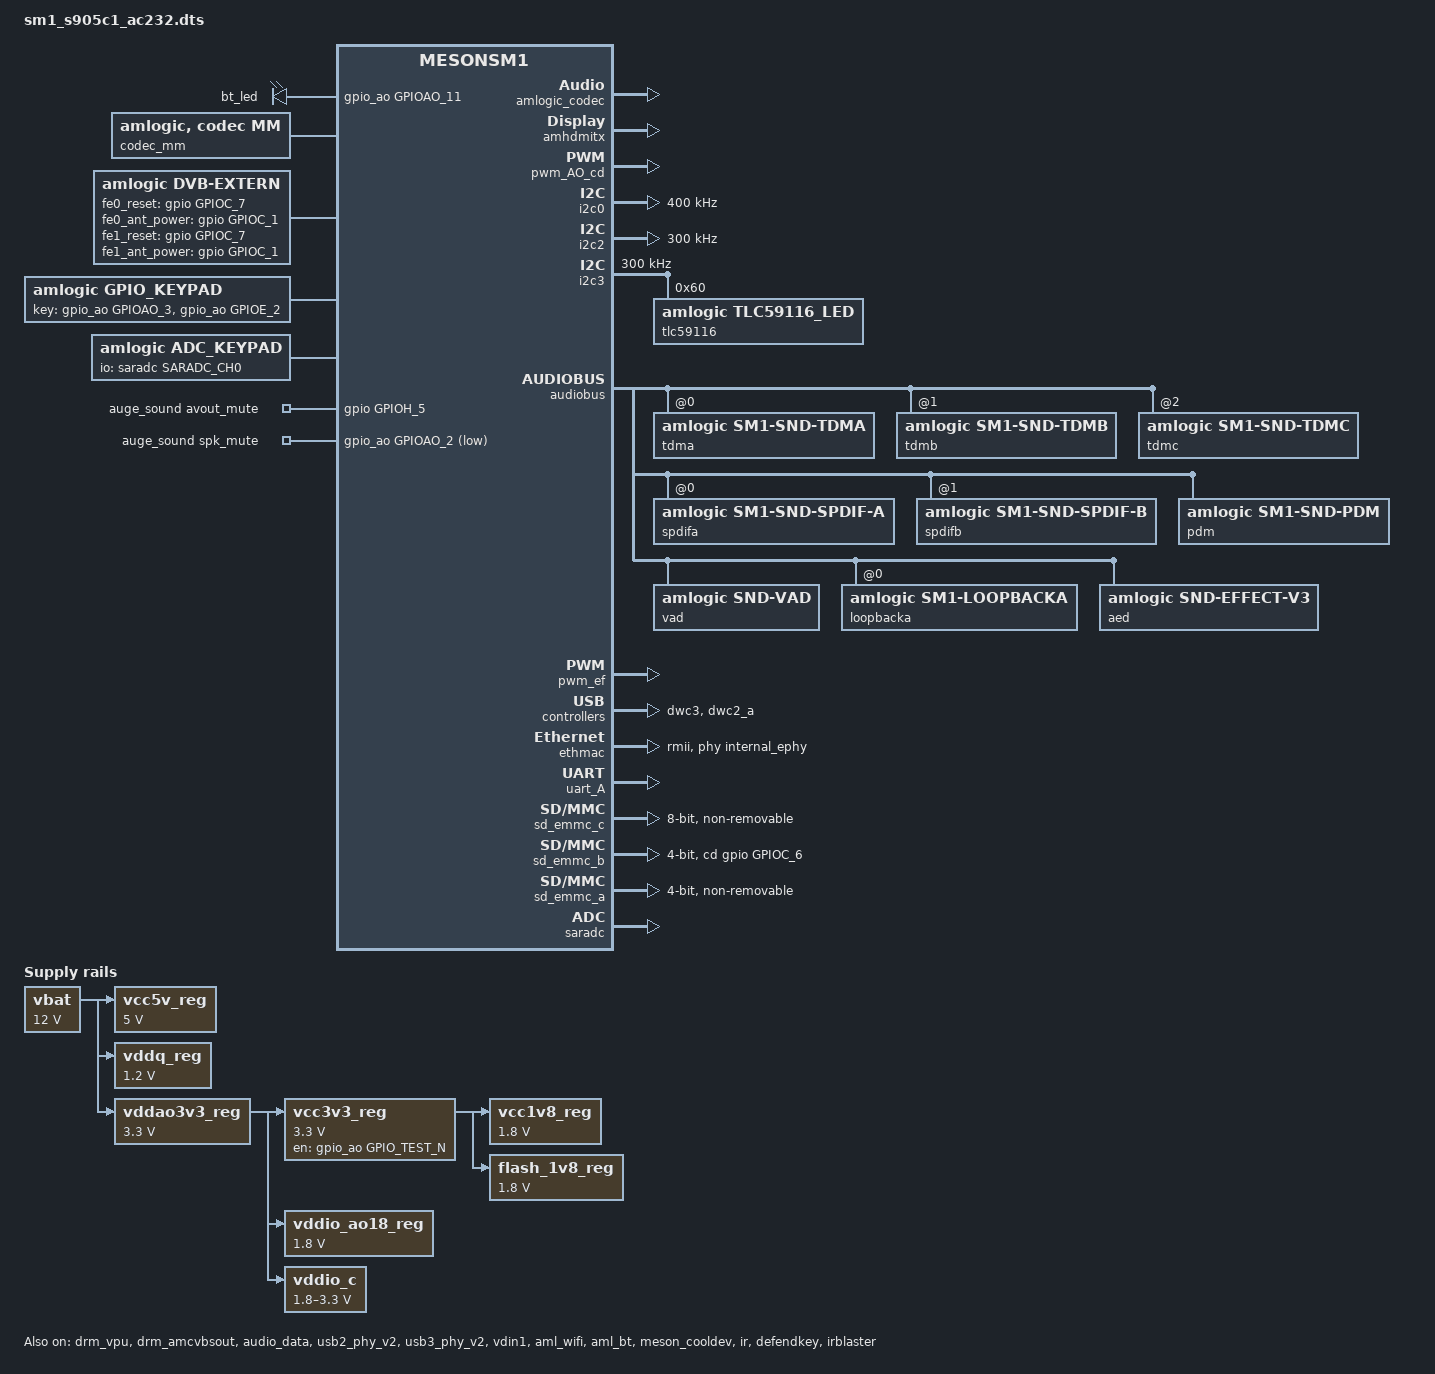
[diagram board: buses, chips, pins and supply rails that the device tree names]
// SPDX-License-Identifier: (GPL-2.0+ OR MIT)
/*
 * Copyright (c) 2019 Amlogic, Inc. All rights reserved.
 */

/dts-v1/;

#include "mesonsm1.dtsi"
#include "mesonsm1_drm.dtsi"
#include "mesonsm1_ac200-panel.dtsi"
#include "partition_mbox_normal_dynamic.dtsi"

/ {
	amlogic-dt-id = "sm1_ac232_2g";
	compatible = "sm1_ac232_2g";
	interrupt-parent = <&gic>;
	#address-cells = <2>;
	#size-cells = <2>;

	aliases {
		serial0 = &uart_AO;
		serial1 = &uart_A;
		serial2 = &uart_B;
		serial3 = &uart_C;
		serial4 = &uart_AO_B;
		tsensor0 = &p_tsensor;
		tsensor1 = &d_tsensor;
		i2c0 = &i2c0;
		i2c1 = &i2c1;
		i2c2 = &i2c2;
		i2c3 = &i2c3;
		i2c4 = &i2c_AO;
	};

	memory@00000000 {
		device_type = "memory";
		linux,usable-memory = <0x0 0x000000 0x0 0x80000000>;
	};

	reserved-memory {
		#address-cells = <2>;
		#size-cells = <2>;
		ranges;
		/* global autoconfigured region for contiguous allocations */
		ramoops@0x07400000 {
			compatible = "ramoops";
			reg = <0x0 0x07400000 0x0 0x00100000>;
			record-size = <0x20000>;
			console-size = <0x40000>;
			ftrace-size = <0x80000>;
			pmsg-size = <0x20000>;
		};

		dmc_reserved:linux,dmc_monitor {
			compatible = "amlogic,dmc_monitor-reserved";
			reg = <0x0 0x0 0x0 0x80000>;
		};

		debug_reserved:linux,iotrace {
			compatible = "amlogic, iotrace";
			reg = <0x0 0x04f00000 0x0 0x00100000>;
			io-size = <0x1b000>;
			sched-size = <0x2000>;
			irq-size = <0x1000>;
			smc-size = <0x1000>;
			misc-size = <0x1000>;
		};

		defendkey_reserved:linux,defendkey {
			compatible = "amlogic, defendkey";
			reg = <0x0 0x04e00000 0x0 0x100000>;
		};
		secmon_reserved:linux,secmon {
			compatible = "shared-dma-pool";
			no-map;
			size = <0x0 0x400000>;
			alignment = <0x0 0x400000>;
			alloc-ranges = <0x0 0x05000000 0x0 0x400000>;
		};
		logo_reserved:linux,meson-fb {
			compatible = "amlogic, meson-fb";
			alignment = <0x0 0x400000>;
			reg = <0x0 0x7f800000 0x0 0x800000>;
		};
		ion_cma_reserved:linux,ion-dev {
			compatible = "shared-dma-pool";
			reusable;
			size = <0x0 0x0>;
			alignment = <0x0 0x400000>;
		};
		ion_fb_reserved:linux,ion-fb {
			compatible = "shared-dma-pool";
			reusable;
			size = <0x0 0x0>;
			alignment = <0x0 0x400000>;
		};
		dmaheap_fb_reserved:heap-fb {
			compatible = "shared-dma-pool";
			reusable;
			size = <0x0 0x3800000>;
			alignment = <0x0 0x400000>;
		};
		dmaheap_cma_reserved:heap-gfx {
			compatible = "shared-dma-pool";
			reusable;
			size = <0x0 0x5800000>;
			alignment = <0x0 0x400000>;
		};
		dmaheap_secure_reserved:heap-secure {
			compatible = "amlogic, heap-secure-mem";
			no-map;
			size = <0x0 0x0>;
			alignment = <0x0 0x400000>;
		};
		//di_reserved:linux,di {
			//compatible = "amlogic, di-mem";
			/* buffer_size = 3621952(yuv422 8bit) */
			/* 4179008(yuv422 10bit full pack mode) */
			/** 10x3621952=34.6M(0x23) support 8bit **/
			/** 10x4736064=45.2M(0x2e) support 12bit **/
			/** 10x4179008=40M(0x28) support 10bit **/
			//size = <0x0 0x2800000>;
			//no-map;
		//};
		/*di CMA pool */
		di_cma_reserved:linux,di_cma {
			compatible = "shared-dma-pool";
			status = "disabled";
			reusable;
			/* buffer_size = 3621952(yuv422 8bit)
			 *  | 4736064(yuv422 10bit)
			 *  | 4074560(yuv422 10bit full pack mode)
			 * 10x3621952=34.6M(0x23) support 8bit
			 * 10x4736064=45.2M(0x2e) support 12bit
			 * 10x4074560=40M(0x28) support 10bit
			 */
			//size = <0x0 0x0B000000>;
			size = <0x0 0x0>;
			alignment = <0x0 0x400000>;
		};
		/*  POST PROCESS MANAGER */
		ppmgr_reserved:linux,ppmgr {
			compatible = "shared-dma-pool";
			size = <0x0 0x0>;
		};

		codec_mm_cma:linux,codec_mm_cma {
			compatible = "shared-dma-pool";
			reusable;
			/* ion_codec_mm max can alloc size 80M*/
			//size = <0x0 0x16400000>;
			size = <0x0 0x1b000000>;/*ary*/
			alignment = <0x0 0x400000>;
			linux,contiguous-region;
		};
		/* codec shared reserved */
		codec_mm_reserved:linux,codec_mm_reserved {
			compatible = "amlogic, codec-mm-reserved";
			size = <0x0 0x0>;
			alignment = <0x0 0x100000>;
			//no-map;
		};

		/*  vdin1 CMA pool */
		vdin1_cma_reserved:linux,vdin1_cma {
			compatible = "shared-dma-pool";
			reusable;
			/* 1920x1080x2x4  =16 M */
			size = <0x0 0x01000000>;
			alignment = <0x0 0x400000>;
		};
		vm0_cma_reserved:linux,vm0_cma {
			compatible = "shared-dma-pool";
			status = "okay";
			reusable;
			size = <0x0 0x2000000>;
			alignment = <0x0 0x400000>;
		};
	};

	amlogic_battery:dummy-battery {
		compatible = "amlogic, dummy-battery";
		status = "disabled";
	};

	amlogic_charger:dummy-charger {
		compatible = "amlogic, dummy-charger";
		status = "disabled";
	};

	gpioleds {
		compatible = "gpio-leds";
		status = "okay";

		bt_led {
			label="bt_led";
			gpios=<&gpio_ao GPIOAO_11 GPIO_ACTIVE_HIGH>;
			default-state ="on";
		};
	};

	cvbsout {
		compatible = "amlogic, cvbsout-sm1";
		dev_name = "cvbsout";
		status = "okay";
		clocks = <&clkc CLKID_VCLK2_ENCI
			&clkc CLKID_VCLK2_VENCI0
			&clkc CLKID_VCLK2_VENCI1
			&clkc CLKID_DAC_CLK>;
		clock-names = "venci_top_gate",
			"venci_0_gate",
			"venci_1_gate",
			"vdac_clk_gate";
		/* clk path */
		/* 0:vid_pll vid2_clk */
		/* 1:gp0_pll vid2_clk */
		/* 2:vid_pll vid1_clk */
		/* 3:gp0_pll vid1_clk */
		clk_path = <0>;

		/* performance: reg_address, reg_value */
		/* sm1 */
		performance = <0x1bf0  0x9
			0x1b56  0x333
			0x1b12  0x8080
			0x1b05  0xfd
			0x1c59  0xf850
			0xffff  0x0>; /* ending flag */
		performance_sarft = <0x1bf0  0x9
			0x1b56  0x333
			0x1b12  0x0
			0x1b05  0x9
			0x1c59  0xfc48
			0xffff  0x0>; /* ending flag */
		performance_revB_telecom = <0x1bf0  0x9
			0x1b56  0x546
			0x1b12  0x8080
			0x1b05  0x9
			0x1c59  0xf850
			0xffff  0x0>; /* ending flag */
	};

	codec_mm {
		compatible = "amlogic, codec, mm";
		memory-region = <&codec_mm_cma &codec_mm_reserved>;
		dev_name = "codec_mm";
		status = "okay";
	};

	picdec_cma_reserved:linux,picdec {
		compatible = "shared-dma-pool";
		reusable;
		size = <0x0>;
		alignment = <0x0>;
		linux,contiguous-region;
	};

	picdec {
		compatible = "amlogic, picdec";
		memory-region = <&picdec_cma_reserved>;
		dev_name = "picdec";
		status = "okay";
	};

	ppmgr {
		compatible = "amlogic, ppmgr";
		memory-region = <&ppmgr_reserved>;
		dev_name = "ppmgr";
		status = "okay";
	};

	multi-di {
		compatible = "amlogic, dim-sm1";
		status = "okay";
		/* 0:use reserved; 1:use cma; 2:use cma as reserved */
		flag_cma = <4>;	//<1>;
		//memory-region = <&di_reserved>;
		memory-region = <&di_cma_reserved>;
		interrupts = <0 46 1
				0 40 1>;
		interrupt-names = "pre_irq", "post_irq";
		//clocks = <&clkc CLKID_VPU_CLKB_TMP_COMP>,
		//	<&clkc CLKID_VPU_CLKB_COMP>;
		//clock-names = "vpu_clkb_tmp_composite",
		//	"vpu_clkb_composite";
		clock-range = <334 667>;
		/* buffer-size = <3621952>;(yuv422 8bit) */
		buffer-size = <4074560>;/*yuv422 fullpack*/
		/* reserve-iomap = "true"; */
		/* if enable nr10bit, set nr10bit-support to 1 */
		post-wr-support = <1>;
		nr10bit-support = <1>;
		nrds-enable = <1>;
		pps-enable = <1>;
	};

	deinterlace {
		compatible = "amlogic, deinterlace";
		status = "disabled";
		/* 0:use reserved; 1:use cma; 2:use cma as reserved */
		flag_cma = <1>;
		//memory-region = <&di_reserved>;
		//memory-region = <&di_cma_reserved>;
		interrupts = <0 46 1
				0 40 1>;
		interrupt-names = "pre_irq", "post_irq";
		//clocks = <&clkc CLKID_VPU_CLKB_TMP_COMP>,
		//	<&clkc CLKID_VPU_CLKB_COMP>;
		clock-names = "vpu_clkb_tmp_composite",
			"vpu_clkb_composite";
		clock-range = <334 667>;
		/* buffer-size = <3621952>;(yuv422 8bit) */
		buffer-size = <4074560>;/*yuv422 fullpack*/
		/* reserve-iomap = "true"; */
		/* if enable nr10bit, set nr10bit-support to 1 */
		post-wr-support = <1>;
		nr10bit-support = <1>;
		nrds-enable = <1>;
		pps-enable = <1>;
	};

	dvb-extern {
		compatible = "amlogic, dvb-extern";
		dev_name = "dvb-extern";
		status = "okay";

		fe_num = <2>;
		fe0_demod = "cxd2856";
		fe0_i2c_adap_id = <&i2c2>;
		fe0_demod_i2c_addr = <0xD8>;
		fe0_reset_value = <0>;
		fe0_reset_gpio = <&gpio GPIOC_7 GPIO_ACTIVE_HIGH>;
		fe0_reset_dir = <1>; /* 0: out, 1: in. */
		fe0_ant_poweron_value = <0>;
		fe0_ant_power_gpio = <&gpio GPIOC_1 GPIO_ACTIVE_HIGH>;
		fe0_ts  = <0>;
		fe0_tuner0 = <0>; /* T/C */
		fe0_tuner1 = <1>; /* S */

		fe1_demod = "cxd2856";
		fe1_i2c_adap_id = <&i2c2>;
		fe1_demod_i2c_addr = <0xCA>;
		fe1_reset_value = <0>;
		fe1_reset_gpio = <&gpio GPIOC_7 GPIO_ACTIVE_HIGH>;
		fe1_reset_dir = <1>; /* 0: out, 1: in. */
		fe1_ant_poweron_value = <0>;
		fe1_ant_power_gpio = <&gpio GPIOC_1 GPIO_ACTIVE_HIGH>;
		fe1_ts  = <1>;
		fe1_tuner0 = <0>; /* T/C */
		fe1_tuner1 = <1>; /* S */

		tuner_num = <2>; /* for extern demod use tuner */
		tuner0_name = "r836_tuner";
		tuner1_name = "av2018_tuner";
	};

	demux {
		compatible = "amlogic, dvb-demux";
		dev_name = "dvb-demux";
		status = "okay";

		ts0 = "serial";
		ts0_control = <0x800>;
		ts0_invert = <0>;

		ts1 = "serial";
		ts1_control = <0x800>;
		ts1_invert = <0>;

		interrupts = <0 23 1
		0 5 1
		0 53 1
		0 19 1
		0 25 1
		0 18 1
		0 24 1>;
		interrupt-names = "demux0_irq",
		"demux1_irq",
		"demux2_irq",
		"dvr0_irq",
		"dvr1_irq",
		"dvrfill0_fill",
		"dvrfill1_flush";
		pinctrl-names = "s_ts0", "s_ts1";
		pinctrl-0 = <&dvb_s_ts0_pins>;
		pinctrl-1 = <&dvb_s_ts1_pins>;
		clocks = <&clkc CLKID_DEMUX
		&clkc CLKID_AHB_ARB0
		&clkc CLKID_PARSER>;
		clock-names = "demux", "ahbarb0", "parser_top";
	};

	ionvideo {
		compatible = "amlogic, ionvideo";
		dev_name = "ionvideo";
		status = "okay";
	};

	amlvideo2_0 {
		compatible = "amlogic, amlvideo2";
		dev_name = "amlvideo2";
		status = "okay";
		amlvideo2_id = <0>;
		cma_mode = <1>;
	};

	amlvideo2_1 {
		compatible = "amlogic, amlvideo2";
		dev_name = "amlvideo2";
		status = "okay";
		amlvideo2_id = <1>;
		cma_mode = <1>;
	};

	vm0 {
		compatible = "amlogic, vm";
		memory-region = <&vm0_cma_reserved>;
		dev_name = "vm0";
		status = "disabled";
		vm_id = <0>;
	};

	amvdec_656in {
		/*bt656 gpio conflict with i2c0*/
		compatible = "amlogic, amvdec_656in";
		dev_name = "amvdec_656in";
		status = "disabled";
		reg = <0x0 0xffe02000 0x0 0x7c>;
		//clocks = <&clkc CLKID_BT656_COMP>,
		//      <&clkc CLKID_BT656>;
		//clock-names = "cts_bt656_clk1",
		//      "clk_gate_bt656";
		/* bt656in1, bt656in2 */
		bt656in1 {
		bt656_id = <1>;
		status = "disabled";
		};
	};

	aml_cams {
		compatible = "amlogic, cams_prober";
		status = "disabled";
		pinctrl-names="default";
		pinctrl-0=<&cam_dvp_pins &gen_clk_ee_z>;
//		clocks = <&clkc CLKID_GEN_CLK>;
		clock-names = "g12a_24m";
		cam_0{
			cam_name = "gc2145";
			front_back = <0>;
			/*u200 i2c2 gpio conflict with ethmac*/
			camera-i2c-bus = <&i2c2>;
			gpio_pwdn-gpios = <&gpio GPIOZ_2 GPIO_ACTIVE_HIGH>;
			gpio_rst-gpios = <&gpio GPIOZ_12 GPIO_ACTIVE_HIGH>;
			mirror_flip = <1>;
			vertical_flip = <1>;
			spread_spectrum = <0>;
			bt_path = "gpio";
			bt_path_count = <1>;
			vdin_path = <0>;
			status = "okay";
		};
	};

	gpio_keypad{
		compatible = "amlogic, gpio_keypad";
		status = "okay";
		scan_period = <20>;
		key_num = <2>;
		key_name = "bluetooth", "mic";
		key_code = <600 248>;
		key-gpios = <&gpio_ao  GPIOAO_3  GPIO_ACTIVE_HIGH
			     &gpio_ao  GPIOE_2  GPIO_ACTIVE_HIGH>;
		detect_mode = <0>;/*0:polling mode, 1:irq mode*/
	};

	adc_keypad {
		compatible = "amlogic, adc_keypad";
		status = "okay";
		key_name = "vol-", "vol+", "power";
		key_num = <3>;
		io-channels = <&saradc SARADC_CH0>;
		io-channel-names = "key-chan-0";
		key_chan = <SARADC_CH0 SARADC_CH0 SARADC_CH0>;
		key_code = <114 115 116>;
		key_val = <630 910 20>; //val=voltage/1800mV*1023
		key_tolerance = <40 40 40>;
	};

	unifykey{
		compatible = "amlogic,unifykey";
		status = "ok";
		unifykey-num = <19>;
		unifykey-index-0 = <&keysn_0>;
		unifykey-index-1 = <&keysn_1>;
		unifykey-index-2 = <&keysn_2>;
		unifykey-index-3 = <&keysn_3>;
		unifykey-index-4 = <&keysn_4>;
		unifykey-index-5 = <&keysn_5>;
		unifykey-index-6 = <&keysn_6>;
		unifykey-index-7 = <&keysn_7>;
		unifykey-index-8 = <&keysn_8>;
		unifykey-index-9 = <&keysn_9>;
		unifykey-index-10= <&keysn_10>;
		unifykey-index-11= <&keysn_11>;
		unifykey-index-12= <&keysn_12>;
		unifykey-index-13= <&keysn_13>;
		unifykey-index-14= <&keysn_14>;
		unifykey-index-15= <&keysn_15>;
		unifykey-index-16= <&keysn_16>;
		unifykey-index-17= <&keysn_17>;
		unifykey-index-18= <&keysn_18>;

		keysn_0: key_0{
			key-name = "usid";
			key-device = "normal";
			key-permit = "read","write","del";
		};
		keysn_1:key_1{
			key-name = "mac";
			key-device = "normal";
			key-permit = "read","write","del";
		};
		keysn_2:key_2{
			key-name = "hdcp";
			key-device = "secure";
			key-type = "sha1";
			key-permit = "read","write","del";
		};
		keysn_3:key_3{
			key-name = "secure_boot_set";
			key-device = "efuse";
			key-permit = "write";
		};
		keysn_4:key_4{
			key-name = "mac_bt";
			key-device = "normal";
			key-permit = "read","write","del";
			key-type  = "mac";
		};
		keysn_5:key_5{
			key-name = "mac_wifi";
			key-device = "normal";
			key-permit = "read","write","del";
			key-type = "mac";
		};
		keysn_6:key_6{
			key-name = "hdcp2_tx";
			key-device = "normal";
			key-permit = "read","write","del";
		};
		keysn_7:key_7{
			key-name = "hdcp2_rx";
			key-device = "normal";
			key-permit = "read","write","del";
		};
		keysn_8:key_8{
			key-name = "widevinekeybox";
			key-device = "secure";
			key-permit = "read","write","del";
		};
		keysn_9:key_9{
			key-name = "deviceid";
			key-device = "normal";
			key-permit = "read","write","del";
		};
		keysn_10:key_10{
			key-name = "hdcp22_fw_private";
			key-device = "secure";
			key-permit = "read","write","del";
		};
		keysn_11:key_11{
			key-name = "PlayReadykeybox25";
			key-device = "secure";
			key-permit = "read","write","del";
		};
		keysn_12:key_12{
			key-name = "prpubkeybox";// PlayReady
			key-device = "secure";
			key-permit = "read","write","del";
		};
		keysn_13:key_13{
			key-name = "prprivkeybox";// PlayReady
			key-device = "secure";
			key-permit = "read","write","del";
		};
		keysn_14:key_14{
			key-name = "attestationkeybox";// attestation key
			key-device = "secure";
			key-permit = "read","write","del";
		};
		keysn_15:key_15{
			key-name = "region_code";
			key-device = "normal";
			key-permit = "read","write","del";
		};
		keysn_16:key_16{
			key-name = "netflix_mgkid";
			key-device = "secure";
			key-permit = "read","write","del";
		};
		keysn_17:key_17{
			key-name = "attestationdevidbox";// attest dev id box
			key-device = "secure";
			key-permit = "read","write","del";
		};
		keysn_18:key_18{
			key-name = "oemkey";
			key-device = "normal";
			key-permit = "read","write","del";
		};
	};//End unifykey

	efusekey:efusekey{
		keynum = <4>;
		key0 = <&key_0>;
		key1 = <&key_1>;
		key2 = <&key_2>;
		key3 = <&key_3>;
		key_0:key_0{
			keyname = "mac";
			offset = <0>;
			size = <6>;
		};
		key_1:key_1{
			keyname = "mac_bt";
			offset = <6>;
			size = <6>;
		};
		key_2:key_2{
			keyname = "mac_wifi";
			offset = <12>;
			size = <6>;
		};
		key_3:key_3{
			keyname = "usid";
			offset = <18>;
			size = <16>;
		};
	};//End efusekey

	amlvecm {
		compatible = "amlogic, vecm-sm1";
		dev_name = "aml_vecm";
		status = "okay";
		gamma_en = <0>;/*1:enable ;0:disable*/
		wb_en = <0>;/*1:enable ;0:disable*/
		cm_en = <0>;/*1:enable ;0:disable*/
		/*0: 709/601  1: bt2020*/
		tx_op_color_primary = <0>;
	};

	amdolby_vision {
		compatible = "amlogic, dolby_vision_sm1";
		dev_name = "aml_amdolby_vision_driver";
		status = "okay";
		tv_mode = <0>;/*1:enable ;0:disable*/
	};

	/* Audio Related start */
	pdm_codec:dummy{
		#sound-dai-cells = <0>;
		compatible = "amlogic, pdm_dummy_codec";
		status = "okay";
	};
	dummy_codec:dummy{
		#sound-dai-cells = <0>;
		compatible = "amlogic, aml_dummy_codec";
		status = "okay";
	};
	amlogic_codec:t9015{
		#sound-dai-cells = <0>;
		compatible = "amlogic, aml_codec_T9015";
		reg = <0x0 0xFF632000 0x0 0x2000>;
		is_auge_used = <1>; /* meson or auge chipset used */
		tocodec_inout = <1>;
		tdmout_index = <1>;
		ch0_sel = <0>;
		ch1_sel = <1>;

		status = "okay";
	};
	audio_effect:eqdrc{
		/*eq_enable = <1>;*/
		/*drc_enable = <1>;*/
		/*
		 * 0:tdmout_a
		 * 1:tdmout_b
		 * 2:tdmout_c
		 * 3:spdifout
		 * 4:spdifout_b
		 */
		eqdrc_module = <1>;
		/* max 0xf, each bit for one lane, usually one lane */
		lane_mask = <0x1>;
		/* max 0xff, each bit for one channel */
		channel_mask = <0x3>;
	};
	auge_sound {
		compatible = "amlogic, auge-sound-card";
		aml-audio-card,name = "AML-AUGESOUND";

		/*avout mute gpio*/
		avout_mute-gpios = <&gpio GPIOH_5 GPIO_ACTIVE_HIGH>;

		spk_mute-gpios = <&gpio_ao GPIOAO_2 GPIO_ACTIVE_LOW>;

		aml-audio-card,dai-link@0 {
			format = "dsp_a";
			mclk-fs = <512>;
			//continuous-clock;
			//bitclock-inversion;
			//frame-inversion;
			/* master mode */
			bitclock-master = <&tdma>;
			frame-master = <&tdma>;
			/* slave mode */
			/*
			 * bitclock-master = <&tdmacodec>;
			 * frame-master = <&tdmacodec>;
			 */
			suffix-name = "alsaPORT-pcm";
			tdmacpu: cpu {
				sound-dai = <&tdma>;
				dai-tdm-slot-tx-mask =
							<1 1 1 1 1 1 1 1>;
				dai-tdm-slot-rx-mask =
							<1 1 1 1 1 1 1 1>;
				dai-tdm-slot-num = <8>;
				dai-tdm-slot-width = <32>;
				system-clock-frequency = <24576000>;
			};
			tdmacodec: codec {
				sound-dai = <&dummy_codec>;
			};
		};

		aml-audio-card,dai-link@1 {
			format = "i2s";// "dsp_a";
			mclk-fs = <256>;
			//continuous-clock;
			//bitclock-inversion;
			//frame-inversion;
			/* master mode */
			bitclock-master = <&tdmb>;
			frame-master = <&tdmb>;
			/* slave mode */
			//bitclock-master = <&tdmbcodec>;
			//frame-master = <&tdmbcodec>;
			/* suffix-name, sync with android audio hal
			 * what's the dai link used for
			 */
			suffix-name = "alsaPORT-i2s";
			cpu {
				sound-dai = <&tdmb>;
				dai-tdm-slot-tx-mask = <1 1>;
				dai-tdm-slot-rx-mask = <1 1>;
				dai-tdm-slot-num = <2>;
				/*
				 * dai-tdm-slot-tx-mask =
				 *	<1 1 1 1 1 1 1 1>;
				 * dai-tdm-slot-rx-mask =
				 *	<1 1 1 1 1 1 1 1>;
				 * dai-tdm-slot-num = <8>;
				 */
				dai-tdm-slot-width = <32>;
				system-clock-frequency = <12288000>;
			};
			tdmbcodec: codec {
				sound-dai = <&amlogic_codec>;
			};
		};

		aml-audio-card,dai-link@2 {
			format = "i2s";
			mclk-fs = <256>;
			//continuous-clock;
			//bitclock-inversion;
			//frame-inversion;
			/* master mode */
			bitclock-master = <&tdmc>;
			frame-master = <&tdmc>;
			/* slave mode */
			//bitclock-master = <&tdmccodec>;
			//frame-master = <&tdmccodec>;
			/* suffix-name, sync with android audio hal used for */
			suffix-name = "alsaPORT-i2s2hdmi";
			cpu {
				sound-dai = <&tdmc>;
				dai-tdm-slot-tx-mask = <1 1>;
				dai-tdm-slot-rx-mask = <1 1>;
				dai-tdm-slot-num = <2>;
				dai-tdm-slot-width = <32>;
				system-clock-frequency = <12288000>;
			};
			tdmccodec: codec {
				sound-dai = <&dummy_codec>;
			};
		};

		aml-audio-card,dai-link@3 {
			mclk-fs = <64>;
			/* suffix-name, sync with android audio hal
			 * what's the dai link used for
			 */
			suffix-name = "alsaPORT-pdm-builtinmic";
			cpu {
				sound-dai = <&pdm>;
			};
			codec {
				sound-dai = <&pdm_codec>;
			};
		};

		aml-audio-card,dai-link@4 {
			mclk-fs = <128>;
			/* suffix-name, sync with android audio hal used for */
			suffix-name = "alsaPORT-spdif";
			cpu {
				sound-dai = <&spdifa>;
				system-clock-frequency = <6144000>;
			};
			codec {
				sound-dai = <&dummy_codec>;
			};
		};
		/* spdif_b to hdmi, only playback */
		aml-audio-card,dai-link@5 {
			mclk-fs = <128>;
			continuous-clock;
			/* suffix-name, sync with android audio hal
			 * what's the dai link used for
			 */
			suffix-name = "alsaPORT-spdifb";
			cpu {
				sound-dai = <&spdifb>;
				system-clock-frequency = <6144000>;
			};
			codec {
				sound-dai = <&dummy_codec>;
			};
		};
#if 0
		aml-audio-card,dai-link@6 {
			mclk-fs = <256>;
			suffix-name = "alsaPORT-earc";
			cpu {
				sound-dai = <&earc>;
				system-clock-frequency = <12288000>;
			};
			codec {
				sound-dai = <&dummy_codec>;
			};
		};
#endif
		aml-audio-card,dai-link@7 {
			mclk-fs = <256>;
			continuous-clock;
			suffix-name = "alsaPORT-loopback";
			cpu {
				sound-dai = <&loopbacka>;
				system-clock-frequency = <12288000>;
			};
			codec {
				sound-dai = <&dummy_codec>;
			};
		};
	};
	audiolocker: locker {
		compatible = "amlogic, audiolocker";
		clocks = <&clkaudio CLKID_AUDIO_LOCKER_OUT
				&clkaudio CLKID_AUDIO_LOCKER_IN
				&clkaudio CLKID_AUDIO_MCLK_D
				&clkaudio CLKID_AUDIO_MCLK_E
				&clkc CLKID_MPLL1
				&clkc CLKID_MPLL2>;
		clock-names = "lock_out", "lock_in", "out_src",
					"in_src", "out_calc", "in_ref";
		interrupts = <GIC_SPI 1 IRQ_TYPE_EDGE_RISING>;
		interrupt-names = "irq";
		frequency = <49000000>; /* pll */
		dividor = <49>; /* locker's parent */
		status = "disabled";
	};
	/* Audio Related end */
	vbat: fixedregulator@vbat {
		compatible = "regulator-fixed";
		regulator-name = "12V";
		regulator-min-microvolt = <12000000>;
		regulator-max-microvolt = <12000000>;
		regulator-boot-on;
		regulator-always-on;
	};

	vcc5v_reg: fixedregulator@vcc5v {
		vin-supply = <&vbat>;
		compatible = "regulator-fixed";
		regulator-name = "VCC_5V";
		regulator-min-microvolt = <5000000>;
		regulator-max-microvolt = <5000000>;
		pinctrl-names = "default";
		//GPIOH_8(OD) Set:
		// Output disable= Enable VCC5V
		//gpio = <&gpio GPIOH_8 GPIO_ACTIVE_HIGH>;
		startup-delay-us = <70000>;
		enable-active-high;
		regulator-boot-on;
		regulator-always-on;
	};

	vddq_reg: fixedregulator@vddq {
		compatible = "regulator-fixed";
		vin-supply = <&vbat>;
		regulator-name = "VDDQ";
		regulator-min-microvolt = <1200000>;
		regulator-max-microvolt = <1200000>;
		regulator-boot-on;
		regulator-always-on;
	};

	vddao3v3_reg: fixedregulator@vddao3v3 {
		vin-supply = <&vbat>;
		compatible = "regulator-fixed";
		regulator-name = "VDDAO_3.3V";
		regulator-min-microvolt = <3300000>;
		regulator-max-microvolt = <3300000>;
		regulator-boot-on;
		regulator-always-on;
	};

	vcc3v3_reg: fixedregulator@vcc3v3 {
		compatible = "regulator-fixed";
		vin-supply = <&vddao3v3_reg>;
		regulator-name = "VCC3.3V";
		regulator-min-microvolt = <3300000>;
		regulator-max-microvolt = <3300000>;
		pinctrl-names = "default";
		//TEST_N(High) Set:
		//Output L= Disable VCC3.3V
		//Output H= Enable VCC3.3V
		gpio = <&gpio_ao GPIO_TEST_N GPIO_ACTIVE_HIGH>;
		startup-delay-us = <70000>;
		enable-active-high;
		regulator-boot-on;
		regulator-always-on;
	};

	vcc1v8_reg: fixedregulator@vcc1v8 {
		vin-supply = <&vcc3v3_reg>;
		compatible = "regulator-fixed";
		regulator-name = "VCC1.8V";
		regulator-min-microvolt = <1800000>;
		regulator-max-microvolt = <1800000>;
		regulator-boot-on;
		regulator-always-on;
	};

	flash_1v8_reg: fixedregulator@flash_1v8 {
		vin-supply = <&vcc3v3_reg>;
		compatible = "regulator-fixed";
		regulator-name = "FLASH_1.8V";
		regulator-min-microvolt = <1800000>;
		regulator-max-microvolt = <1800000>;
		regulator-boot-on;
		regulator-always-on;
	};

	vddio_ao18_reg: fixedregulator@vddio_ao18 {
		vin-supply = <&vddao3v3_reg>;
		compatible = "regulator-fixed";
		regulator-name = "VDDIO_AO18";
		regulator-min-microvolt = <1800000>;
		regulator-max-microvolt = <1800000>;
		regulator-boot-on;
		regulator-always-on;
	};

	vddio_c: sdcard-1v8_3v3 {
		compatible = "regulator-gpio";
		regulator-name = "VDDIO_C";
		vin-supply = <&vddao3v3_reg>;
		regulator-min-microvolt = <1800000>;
		regulator-max-microvolt = <3300000>;
		// L/HiZ: 3.3V, H: 1.8V
		gpio = <&gpio_ao GPIOAO_2 GPIO_ACTIVE_HIGH>;
		gpios-states = <0>;
		regulator-boot-on;
		//regulator-always-on;

		/* Based on P200 schematics, signal CARD_1.8V/3.3V_CTR */
		states = <1800000 1
			  3300000 0>;
	};

	cpu_opp_table0: cpu_opp_table0 {
		compatible = "operating-points-v2";
		opp-shared;

		opp00 {
			opp-hz = /bits/ 64 <100000000>;
			opp-microvolt = <760000>;
		};
		opp01 {
			opp-hz = /bits/ 64 <250000000>;
			opp-microvolt = <760000>;
		};
		opp02 {
			opp-hz = /bits/ 64 <500000000>;
			opp-microvolt = <760000>;
		};
		opp03 {
			opp-hz = /bits/ 64 <666666666>;
			opp-microvolt = <780000>;
		};
		opp04 {
			opp-hz = /bits/ 64 <1000000000>;
			opp-microvolt = <800000>;
		};
		opp05 {
			opp-hz = /bits/ 64 <1200000000>;
			opp-microvolt = <810000>;
		};
		opp06 {
			opp-hz = /bits/ 64 <1404000000>;
			opp-microvolt = <820000>;
		};
		opp07 {
			opp-hz = /bits/ 64 <1500000000>;
			opp-microvolt = <830000>;
		};
		opp08 {
			opp-hz = /bits/ 64 <1608000000>;
			opp-microvolt = <860000>;
		};
		opp09 {
			opp-hz = /bits/ 64 <1704000000>;
			opp-microvolt = <900000>;
		};
		opp10 {
			opp-hz = /bits/ 64 <1800000000>;
			opp-microvolt = <940000>;
		};
		opp11 {
			opp-hz = /bits/ 64 <1908000000>;
			opp-microvolt = <1000000>;
		};
	};

	cpu_opp_table1: cpu_opp_table1 {
		compatible = "operating-points-v2";
		opp-shared;

		opp00 {
			opp-hz = /bits/ 64 <100000000>;
			opp-microvolt = <760000>;
		};
		opp01 {
			opp-hz = /bits/ 64 <250000000>;
			opp-microvolt = <760000>;
		};
		opp02 {
			opp-hz = /bits/ 64 <500000000>;
			opp-microvolt = <760000>;
		};
		opp03 {
			opp-hz = /bits/ 64 <666666666>;
			opp-microvolt = <780000>;
		};
		opp04 {
			opp-hz = /bits/ 64 <1000000000>;
			opp-microvolt = <800000>;
		};
		opp05 {
			opp-hz = /bits/ 64 <1200000000>;
			opp-microvolt = <810000>;
		};
		opp06 {
			opp-hz = /bits/ 64 <1404000000>;
			opp-microvolt = <820000>;
		};
		opp07 {
			opp-hz = /bits/ 64 <1500000000>;
			opp-microvolt = <830000>;
		};
		opp08 {
			opp-hz = /bits/ 64 <1608000000>;
			opp-microvolt = <860000>;
		};
		opp09 {
			opp-hz = /bits/ 64 <1704000000>;
			opp-microvolt = <900000>;
		};
		opp10 {
			opp-hz = /bits/ 64 <1800000000>;
			opp-microvolt = <940000>;
		};
		opp11 {
			opp-hz = /bits/ 64 <1908000000>;
			opp-microvolt = <970000>;
		};
	};

	cpu_opp_table2: cpu_opp_table2 {
		compatible = "operating-points-v2";
		opp-shared;

		opp00 {
			opp-hz = /bits/ 64 <100000000>;
			opp-microvolt = <760000>;
		};
		opp01 {
			opp-hz = /bits/ 64 <250000000>;
			opp-microvolt = <760000>;
		};
		opp02 {
			opp-hz = /bits/ 64 <500000000>;
			opp-microvolt = <760000>;
		};
		opp03 {
			opp-hz = /bits/ 64 <666666666>;
			opp-microvolt = <780000>;
		};
		opp04 {
			opp-hz = /bits/ 64 <1000000000>;
			opp-microvolt = <800000>;
		};
		opp05 {
			opp-hz = /bits/ 64 <1200000000>;
			opp-microvolt = <810000>;
		};
		opp06 {
			opp-hz = /bits/ 64 <1404000000>;
			opp-microvolt = <820000>;
		};
		opp07 {
			opp-hz = /bits/ 64 <1500000000>;
			opp-microvolt = <830000>;
		};
		opp08 {
			opp-hz = /bits/ 64 <1608000000>;
			opp-microvolt = <860000>;
		};
		opp09 {
			opp-hz = /bits/ 64 <1704000000>;
			opp-microvolt = <900000>;
		};
		opp10 {
			opp-hz = /bits/ 64 <1800000000>;
			opp-microvolt = <910000>;
		};
		opp11 {
			opp-hz = /bits/ 64 <1908000000>;
			opp-microvolt = <910000>;
		};
	};

	cpu_opp_table3: cpu_opp_table3 {
		compatible = "operating-points-v2";
		opp-shared;

		opp00 {
			opp-hz = /bits/ 64 <100000000>;
			opp-microvolt = <760000>;
		};
		opp01 {
			opp-hz = /bits/ 64 <250000000>;
			opp-microvolt = <760000>;
		};
		opp02 {
			opp-hz = /bits/ 64 <500000000>;
			opp-microvolt = <760000>;
		};
		opp03 {
			opp-hz = /bits/ 64 <666666666>;
			opp-microvolt = <780000>;
		};
		opp04 {
			opp-hz = /bits/ 64 <1000000000>;
			opp-microvolt = <800000>;
		};
		opp05 {
			opp-hz = /bits/ 64 <1200000000>;
			opp-microvolt = <810000>;
		};
		opp06 {
			opp-hz = /bits/ 64 <1404000000>;
			opp-microvolt = <820000>;
		};
		opp07 {
			opp-hz = /bits/ 64 <1500000000>;
			opp-microvolt = <830000>;
		};
		opp08 {
			opp-hz = /bits/ 64 <1608000000>;
			opp-microvolt = <860000>;
		};
		opp09 {
			opp-hz = /bits/ 64 <1704000000>;
			opp-microvolt = <860000>;
		};
		opp10 {
			opp-hz = /bits/ 64 <1800000000>;
			opp-microvolt = <860000>;
		};
		opp11 {
			opp-hz = /bits/ 64 <1908000000>;
			opp-microvolt = <860000>;
		};
	};

	cpufreq-meson {
		compatible = "amlogic, cpufreq-meson";
		status = "okay";
	};

}; /* end of / */

&vddcpu0 {
	status = "okay";
};

&CPU0 {
	/*set multi table cpufreq max*/
	multi_tables_available;
	operating-points-v2 = <&cpu_opp_table0>,
			<&cpu_opp_table1>,
			<&cpu_opp_table2>,
			<&cpu_opp_table3>;
};

&CPU1 {
	/*set multi table cpufreq max*/
	multi_tables_available;
	operating-points-v2 = <&cpu_opp_table0>,
			<&cpu_opp_table1>,
			<&cpu_opp_table2>,
			<&cpu_opp_table3>;
};

&CPU2 {
	/*set multi table cpufreq max*/
	multi_tables_available;
	operating-points-v2 = <&cpu_opp_table0>,
			<&cpu_opp_table1>,
			<&cpu_opp_table2>,
			<&cpu_opp_table3>;
};

&CPU3 {
	/*set multi table cpufreq max*/
	multi_tables_available;
	operating-points-v2 = <&cpu_opp_table0>,
			<&cpu_opp_table1>,
			<&cpu_opp_table2>,
			<&cpu_opp_table3>;
};

&meson_fb {
	status = "disabled";
	display_size_default = <1920 1080 1920 2160 32>;
	mem_size = <0x00800000 0x1980000 0x100000 0x100000 0x800000>;
	logo_addr = "0x7f800000";
	mem_alloc = <0>;
	pxp_mode = <0>; /** 0:normal mode 1:pxp mode */
};

&amhdmitx {
	status = "okay";
};

&drm_vpu {
	status = "okay";
	logo_addr = "0x7f800000";
};

&drm_amcvbsout {
	status = "okay";
};

&pwm_AO_cd {
		status = "okay";
};

&i2c0 {
	status = "okay";
	pinctrl-names="default";
	pinctrl-0=<&i2c0_master_pins2>;
	clock-frequency = <400000>;

	gt9xx@5d {
		compatible = "goodix,gt9xx";
		status = "disabled";
		reg = <0x5d>;
		reset-gpio = <&gpio GPIOZ_9 0x00>;
		irq-gpio = <&gpio GPIOZ_3 0x00>;
	};

	ftxx@38 {
		compatible = "focaltech,fts";
		status = "disabled";
		reg = <0x38>;
		reset-gpio = <&gpio GPIOZ_9 0x00>;
		irq-gpio = <&gpio GPIOZ_3 0x00>;
		x_max = <600>;
		y_max = <1024>;
		max-touch-number = <10>;
	};
};

&i2c2 {
	status = "okay";
	pinctrl-names="default";
	pinctrl-0=<&i2c2_master_pins2>;
	clock-frequency = <300000>;
};

&i2c3 {
	status = "okay";
	pinctrl-names="default";
	pinctrl-0=<&i2c3_master_pins2>;
	clock-frequency = <300000>; /* default 100k */

	/* for ref board */
	ad82584f_62: ad82584f_62@31 {
		compatible = "ESMT, ad82584f";
		#sound-dai-cells = <0>;
		reg = <0x31>;
		status = "disabled";
		reset_pin = <&gpio GPIOA_5 0>;
		no_mclk;
	};

	//bl_extern_i2c {
	//	compatible = "bl_extern, i2c";
	//	dev_name = "lp8556";
	//	reg = <0x2c>;
	//	status = "disabled";
	//};

	/* for led */
	tlc59116: tlc59116@60 {
		compatible = "amlogic,tlc59116_led";
		reg = <0x60>;
		status = "okay";

		led0 {
			default_colors = <0 0 0>;
			r_io_number = <0>;
			g_io_number = <10>;
			b_io_number = <5>;
		};

		led1 {
			default_colors = <0 0 0>;
			r_io_number = <1>;
			g_io_number = <11>;
			b_io_number = <6>;
		};

		led2 {
			default_colors = <0 0 0>;
			r_io_number = <2>;
			g_io_number = <12>;
			b_io_number = <7>;
		};

		led3 {
			default_colors = <0 0 0>;
			r_io_number = <3>;
			g_io_number = <13>;
			b_io_number = <8>;
		};
	};
};

&audiobus {
	tdma: tdm@0 {
		compatible = "amlogic, sm1-snd-tdma";
		#sound-dai-cells = <0>;
		dai-tdm-lane-slot-mask-in = <0 1>;
		dai-tdm-oe-lane-slot-mask-out = <1 0>;
		dai-tdm-clk-sel = <0>;
		clocks = <&clkaudio CLKID_AUDIO_MCLK_A
				&clkc CLKID_MPLL0>;
		clock-names = "mclk", "clk_srcpll";
		pinctrl-names = "tdm_pins";
		pinctrl-0 = <&tdmout_a &tdmin_a>;

		status = "okay";
	};

	tdmb: tdm@1 {
		compatible = "amlogic, sm1-snd-tdmb";
		#sound-dai-cells = <0>;
		dai-tdm-lane-slot-mask-in = <0 1 0 0>;
		dai-tdm-lane-slot-mask-out = <1 0 0 0>;
		dai-tdm-clk-sel = <1>;
		clocks = <&clkaudio CLKID_AUDIO_MCLK_B
				&clkaudio CLKID_AUDIO_MCLK_PAD0
				&clkc CLKID_MPLL1
				&clkc CLKID_MPLL0
				&clkaudio CLKID_AUDIO_SPDIFOUT_A>;
		clock-names = "mclk", "mclk_pad", "clk_srcpll",
			"samesource_srcpll", "samesource_clk";
		pinctrl-names = "tdm_pins";
		pinctrl-0 = <&tdmb_mclk &tdmout_b &tdmin_b>;

		/*
		 * 0: tdmout_a;
		 * 1: tdmout_b;
		 * 2: tdmout_c;
		 * 3: spdifout;
		 * 4: spdifout_b;
		 */
		samesource_sel = <3>;

		/*enable default mclk(12.288M), before extern codec start*/
		start_clk_enable = <1>;

		/*tdm clk tuning enable*/
		clk_tuning_enable = <1>;

		status = "okay";
	};

	tdmc: tdm@2 {
		compatible = "amlogic, sm1-snd-tdmc";
		#sound-dai-cells = <0>;
		dai-tdm-lane-slot-mask-out = <1 1 1 1>;
		dai-tdm-clk-sel = <2>;
		clocks = <&clkaudio CLKID_AUDIO_MCLK_C
				&clkc CLKID_MPLL2>;
		clock-names = "mclk", "clk_srcpll";
		i2s2hdmi = <1>;
		status = "okay";
	};

	tdmlb:tdm@3 {
		compatible = "amlogic, sm1-snd-tdmlb";
		#sound-dai-cells = <0>;

		dai-tdm-lane-lb-slot-mask-in = <1 0 0 0>;
		dai-tdm-clk-sel = <1>;

		clocks = <&clkaudio CLKID_AUDIO_MCLK_B
				&clkc CLKID_MPLL1>;
		clock-names = "mclk", "clk_srcpll";

		/*
		 * select tdmin_lb src;
		 * AXG
		 *  0: TDMOUTA
		 *  1: TDMOUTB
		 *  2: TDMOUTC
		 *  3: PAD_TDMINA
		 *  4: PAD_TDMINB
		 *  5: PAD_TDMINC
		 *
		 * G12A/G12B
		 *  0: TDMOUTA
		 *  1: TDMOUTB
		 *  2: TDMOUTC
		 *  3: PAD_TDMINA_DIN*
		 *  4: PAD_TDMINB_DIN*
		 *  5: PAD_TDMINC_DIN*
		 *  6: PAD_TDMINA_D*, oe pin
		 *  7: PAD_TDMINB_D*, oe pin
		 *
		 * TL1/SM1
		 *  0: TDMOUTA
		 *  1: TDMOUTB
		 *  2: TDMOUTC
		 *  3: PAD_TDMINA_DIN*
		 *  4: PAD_TDMINB_DIN*
		 *  5: PAD_TDMINC_DIN*
		 *  6: PAD_TDMINA_D*
		 *  7: PAD_TDMINB_D*
		 *  8: PAD_TDMINC_D*
		 *  9: HDMIRX_I2S
		 *  10: ACODEC_ADC
		 */
		lb-src-sel = <1>;

		status = "disabled";
	};

	spdifa: spdif@0 {
		compatible = "amlogic, sm1-snd-spdif-a";
		#sound-dai-cells = <0>;
		clocks = <&clkc CLKID_MPLL0
				&clkc CLKID_FCLK_DIV4
				&clkaudio CLKID_AUDIO_GATE_SPDIFIN
				&clkaudio CLKID_AUDIO_GATE_SPDIFOUT_A
				&clkaudio CLKID_AUDIO_SPDIFIN
				&clkaudio CLKID_AUDIO_SPDIFOUT_A>;
		clock-names = "sysclk", "fixed_clk", "gate_spdifin",
				"gate_spdifout", "clk_spdifin", "clk_spdifout";
		interrupts =
				<GIC_SPI 151 IRQ_TYPE_EDGE_RISING>;

		interrupt-names = "irq_spdifin";
		pinctrl-names = "spdif_pins",
				"spdif_pins_mute";
		pinctrl-0 = <&spdifout>;
		pinctrl-1 = <&spdifout_a_mute>;

		/*spdif clk tuning enable*/
		clk_tuning_enable = <1>;

		status = "okay";
	};
	spdifb: spdif@1 {
		compatible = "amlogic, sm1-snd-spdif-b";
		#sound-dai-cells = <0>;
		clocks = <&clkc CLKID_MPLL2 /*CLKID_HIFI_PLL*/
				&clkaudio CLKID_AUDIO_GATE_SPDIFOUT_B
				&clkaudio CLKID_AUDIO_SPDIFOUT_B>;
		clock-names = "sysclk",
				"gate_spdifout", "clk_spdifout";

		status = "okay";
	};
	pdm: pdm {
		compatible = "amlogic, sm1-snd-pdm";
		#sound-dai-cells = <0>;

		clocks = <&clkaudio CLKID_AUDIO_GATE_PDM
			&clkc CLKID_FCLK_DIV3
			&clkc CLKID_MPLL3
			&clkaudio CLKID_AUDIO_PDMIN0
			&clkaudio CLKID_AUDIO_PDMIN1>;
		clock-names = "gate",
			"sysclk_srcpll",
			"dclk_srcpll",
			"pdm_dclk",
			"pdm_sysclk";

		pinctrl-names = "pdm_pins";
		pinctrl-0 = <&pdmin>;

		/* mode 0~4, defalut:1 */
		filter_mode = <1>;

		status = "okay";
	};

	asrca: resample@0 {
		compatible = "amlogic, sm1-resample";
		clocks = <&clkc CLKID_MPLL3
				&clkaudio CLKID_AUDIO_MCLK_F
				&clkaudio CLKID_AUDIO_RESAMPLE_A>;
		clock-names = "resample_pll", "resample_src", "resample_clk";
		/*same with toddr_src
		 *	TDMIN_A, 0
		 *	TDMIN_B, 1
		 *	TDMIN_C, 2
		 *	SPDIFIN, 3
		 *	PDMIN,  4
		 *	NONE,
		 *	TDMIN_LB, 6
		 *	LOOPBACK, 7
		 */
		resample_module = <4>;
		status = "disabled";
	};

	vad:vad {
		compatible = "amlogic, snd-vad";
		#sound-dai-cells = <0>;

		clocks = <&clkaudio CLKID_AUDIO_GATE_TOVAD
			&clkc CLKID_FCLK_DIV5
			&clkaudio CLKID_AUDIO_VAD>;
		clock-names = "gate", "pll", "clk";

		interrupts = <GIC_SPI 155 IRQ_TYPE_EDGE_RISING
				GIC_SPI 48 IRQ_TYPE_EDGE_RISING>;
		interrupt-names = "irq_wakeup", "irq_frame_sync";

		/*
		 * Data src sel:
		 * 0: tdmin_a;
		 * 1: tdmin_b;
		 * 2: tdmin_c;
		 * 3: spdifin;
		 * 4: pdmin;
		 * 5: loopback_b;
		 * 6: tdmin_lb;
		 * 7: loopback_a;
		 */
		src = <4>;

		/*
		 * deal with hot word in user space or kernel space
		 * 0: in user space
		 * 1: in kernel space
		 */
		level = <1>;

		status = "okay";
	};

	loopbacka:loopback@0 {
		compatible = "amlogic, sm1-loopbacka";
		#sound-dai-cells = <0>;

		clocks = <&clkaudio CLKID_AUDIO_GATE_PDM
			&clkc CLKID_FCLK_DIV3
			&clkc CLKID_MPLL3
			&clkaudio CLKID_AUDIO_PDMIN0
			&clkaudio CLKID_AUDIO_PDMIN1
			&clkc CLKID_MPLL0
			&clkaudio CLKID_AUDIO_MCLK_A>;
		clock-names = "pdm_gate",
			"pdm_sysclk_srcpll",
			"pdm_dclk_srcpll",
			"pdm_dclk",
			"pdm_sysclk",
			"tdminlb_mpll",
			"tdminlb_mclk";

		/* datain src
		 * 0: tdmin_a;
		 * 1: tdmin_b;
		 * 2: tdmin_c;
		 * 3: spdifin;
		 * 4: pdmin;
		 */
		datain_src = <4>;
		datain_chnum = <2>;
		datain_chmask = <0x3>;
		/* config which data pin for loopback */
		datain-lane-mask-in = <1 0 0 0>;

		/* calc mclk for datalb */
		mclk-fs = <256>;

		/* tdmin_lb src
		 * 0: tdmoutA
		 * 1: tdmoutB
		 * 2: tdmoutC
		 * 3: PAD_TDMINA_DIN*, refer to core pinmux
		 * 4: PAD_TDMINB_DIN*, refer to core pinmux
		 * 5: PAD_TDMINC_DIN*, refer to core pinmux
		 * 6: PAD_TDMINA_D*, oe, refer to core pinmux
		 * 7: PAD_TDMINB_D*, oe, refer to core pinmux
		 */
		/* if tdmin_lb >= 3, use external loopback */
		datalb_src = <1>;
		datalb_chnum = <2>;
		datalb_chmask = <0x3>;
		/* config which data pin as loopback */
		datalb-lane-mask-in = <1 0 0 0>;

		status = "okay";
	};

	loopbackb:loopback@1 {
		compatible = "amlogic, sm1-loopbackb";
		#sound-dai-cells = <0>;

		clocks = <&clkaudio CLKID_AUDIO_GATE_PDM
			&clkc CLKID_FCLK_DIV3
			&clkc CLKID_MPLL3
			&clkaudio CLKID_AUDIO_PDMIN0
			&clkaudio CLKID_AUDIO_PDMIN1
			&clkc CLKID_MPLL0
			&clkaudio CLKID_AUDIO_MCLK_A>;
		clock-names = "pdm_gate",
			"pdm_sysclk_srcpll",
			"pdm_dclk_srcpll",
			"pdm_dclk",
			"pdm_sysclk",
			"tdminlb_mpll",
			"tdminlb_mclk";

		/* calc mclk for datain_lb */
		mclk-fs = <256>;

		/* datain src
		 * 0: tdmin_a;
		 * 1: tdmin_b;
		 * 2: tdmin_c;
		 * 3: spdifin;
		 * 4: pdmin;
		 */
		datain_src = <4>;
		datain_chnum = <4>;
		datain_chmask = <0xf>;
		/* config which data pin for loopback */
		datain-lane-mask-in = <1 0 1 0>;

		/* tdmin_lb src
		 * 0: tdmoutA
		 * 1: tdmoutB
		 * 2: tdmoutC
		 * 3: PAD_TDMINA_DIN*, refer to core pinmux
		 * 4: PAD_TDMINB_DIN*, refer to core pinmux
		 * 5: PAD_TDMINC_DIN*, refer to core pinmux
		 * 6: PAD_TDMINA_D*, oe, refer to core pinmux
		 * 7: PAD_TDMINB_D*, oe, refer to core pinmux
		 */
		/* if tdmin_lb >= 3, use external loopback */
		datalb_src = <1>;
		datalb_chnum = <2>;
		datalb_chmask = <0x3>;
		/* config which data pin as loopback */
		datalb-lane-mask-in = <1 0 0 0>;

		status = "disabled";
	};
	aed:effect {
		compatible = "amlogic, snd-effect-v3";
		#sound-dai-cells = <0>;
		clocks = <&clkaudio CLKID_AUDIO_GATE_EQDRC
			&clkc CLKID_FCLK_DIV5
			&clkaudio CLKID_AUDIO_EQDRC>;
		clock-names = "gate", "srcpll", "eqdrc";
		/*
		 * 0:tdmout_a
		 * 1:tdmout_b
		 * 2:tdmout_c
		 * 3:spdifout
		 * 4:spdifout_b
		 */
		eqdrc_module = <1>;
		/* max 0xf, each bit for one lane, usually one lane */
		lane_mask = <0x1>;
		/* max 0xff, each bit for one channel */
		channel_mask = <0x3>;
		status = "okay";
	};
}; /* end of audiobus */

&earc {
	status = "disabled";
};

&pinctrl_periphs {
	tdmout_a: tdmout_a {
		mux { /* GPIOX_11, GPIOX_10, GPIOX_9 */
			groups = "tdm_a_sclk",
				"tdm_a_fs",
				"tdm_a_dout0";
			function = "tdm_a";
		};
	};

	tdmin_a: tdmin_a {
		mux { /* GPIOX_8 */
			groups = "tdm_a_din1";
			function = "tdm_a";
		};
	};

	tdmb_mclk: tdmb_mclk {
		mux {
			groups = "mclk0_a";
			function = "mclk0";
			drive-strength = <2>;
		};
	};
	tdmout_b: tdmout_b {
		mux { /* GPIOA_1, GPIOA_2, GPIOA_3 */
			groups = "tdm_b_sclk",
				"tdm_b_fs",
				"tdm_b_dout0";
			function = "tdm_b";
			drive-strength = <2>;
		};
	};

	tdmin_b:tdmin_b {
		mux { /* GPIOA_4 */
			groups = "tdm_b_din1"
				/*,"tdmb_slv_sclk", "tdmb_slv_fs"*/;
			function = "tdm_b";
			drive-strength = <2>;
		};
	};

	tdmc_mclk: tdmc_mclk {
		mux { /* GPIOA_11 */
			groups = "mclk1_a";
			function = "mclk1";
		};
	};

	tdmout_c:tdmout_c {
		mux { /* GPIOA_12, GPIOA_13 */
			groups = "tdm_c_sclk_a",
				"tdm_c_fs_a"
				/*, "tdm_c_dout0_a"
				 *,	"tdm_c_dout2"
				 *, "tdm_c_dout3"
				 */;
			function = "tdm_c";
		};
	};

	tdmin_c:tdmin_c {
		mux { /* GPIOA_10 */
			groups = "tdm_c_din0_a";
			function = "tdm_c";
		};
	};

	spdifin: spdifin {
		mux {/* GPIOH_5 */
			groups = "spdif_in_h";
			function = "spdif_in";
		};
	};

	pdmin: pdmin {
		mux { /* GPIOC_0, GPIOC_4 */
			groups = "pdm_din0_c",
				"pdm_dclk_c";
			function = "pdm";
		};
	};

	bl_pwm_off_pins:bl_pwm_off_pin {
		mux {
			pins = "GPIOH_5";
			function = "gpio_periphs";
			output-high;
		};
	};

	clk12_24_z_pins:clk12_24_z_pins {
		mux {
			groups = "clk12_24_z";
			function = "clk12_24_ee";
			drive-strength = <3>;
		};
	};

	gen_clk_ee_z: gen_clk_ee_z {
		mux {
			groups="gen_clk_ee_z";
			function="gen_clk_ee";
			drive-strength = <3>;
		};
	};

	cam_dvp_pins:cam_dvp_pins {
		mux {
			groups = "bt656_a_vs", "bt656_a_hs", "bt656_a_clk",
				"bt656_a_din0", "bt656_a_din1", "bt656_a_din2",
				"bt656_a_din3", "bt656_a_din4", "bt656_a_din5",
				"bt656_a_din6", "bt656_a_din7";
			function = "bt656";
		};
	};

	//spdifout: spdifout {
	//	mux { /* GPIOH_4 */
	//		groups = "spdif_out_ao";
	//		function = "spdif_out_ao";
	//	};
	//};

}; /* end of pinctrl_periphs */

&pinctrl_aobus {
	spdifout: spdifout {
		mux { /* GPIOAO_10 */
			groups = "spdif_ao_out";
			function = "spdif_ao_out";
		};
	};

	spdifout_a_mute: spdifout_a_mute {
		mux { /* GPIOAO_10 */
			groups = "GPIOAO_10";
			function = "gpio_aobus";
		};
	};
};  /* end of pinctrl_aobus */

&audio_data {
	status = "okay";
};

/* Audio Related End */

&pwm_ef {
	status = "okay";
};

&dwc3 {
	status = "okay";
};

&usb2_phy_v2 {
	status = "okay";
	portnum = <2>;
};

&usb3_phy_v2 {
	status = "okay";
	portnum = <1>;
	otg = <1>;
};

&dwc2_a {
	status = "okay";
	/** 0: normal, 1: otg+dwc3 host only, 2: otg+dwc3 device only*/
	controller-type = <3>;
};

&ethmac {
	status = "okay";
	phy-handle = <&internal_ephy>;
	phy-mode = "rmii";
};

&uart_A {
	status = "okay";
};

&vdin1 {
	memory-region = <&vdin1_cma_reserved>;
	status = "okay";
	/*vdin write mem color depth support:
	 *bit0:support 8bit
	 *bit1:support 9bit
	 *bit2:support 10bit
	 *bit3:support 12bit
	 */
	tv_bit_mode = <1>;
};

&sd_emmc_c {
	status = "okay";
	pinctrl-0 = <&emmc_pins>, <&emmc_ds_pins>;
	pinctrl-1 = <&emmc_clk_gate_pins>;
	pinctrl-names = "default", "clk-gate";
	bus-width = <8>;
	cap-mmc-highspeed;
	max-frequency = <200000000>;
	non-removable;
	disable-wp;
	mmc-ddr-1_8v;
	mmc-hs200-1_8v;
	mmc-hs400-1_8v;
	//mmc-pwrseq = <&emmc_pwrseq>;
	//vmmc-supply = <&vcc_3v3>;
	//vqmmc-supply = <&vddio_boot>;
};

&sd_emmc_b {
	//vmmc-supply = <&vddao3v3_reg>;
	//vqmmc-supply = <&vddio_c>;
	status = "okay";
	pinctrl-0 = <&sdcard_pins>;
	pinctrl-1 = <&sdcard_clk_gate_pins>;
	pinctrl-2 = <&sd_1bit_pins>;
	//pinctrl-3 = <&sd_to_ao_uart_clr_pins
	//	&sdcard_pins &ao_to_sd_uart_pins>;
	//pinctrl-4 = <&sd_to_ao_uart_clr_pins
	//	&sd_1bit_pins &ao_to_sd_uart_pins>;
	//pinctrl-5 = <&sdcard_pins &ao_uart_pins>;
	//pinctrl-6 = <&sd_to_ao_uart_clr_pins
	//	&ao_to_sd_uart_pins>;
	//pinctrl-7 = <&sdcard_pins &ao_uart_pins>;
	//pinctrl-8 = <&sd_to_ao_uart_clr_pins
	//	&ao_to_sd_uart_pins>;

	pinctrl-names = "sd_default",
				"clk-gate",
				"sd_1bit_pins";
	//			"sd_clk_cmd_uart_pins",
	//			"sd_1bit_uart_pins",
	//			"sd_to_ao_uart_pins",
	//			"ao_to_sd_uart_pins",
	//			"sd_to_ao_jtag_pins",
	//			"ao_to_sd_jtag_pins";
				bus-width = <4>;
				cap-sd-highspeed;
//      sd-uhs-sdr12;
//      sd-uhs-sdr25;
//      sd-uhs-sdr50;
//      sd-uhs-sdr104;
				max-frequency = <200000000>;
				disable-wp;
				dat1-gpios = <&gpio GPIOC_1 GPIO_ACTIVE_HIGH>;
				cd-gpios = <&gpio GPIOC_6 GPIO_ACTIVE_HIGH>;
				//vmmc-supply = <&vddao_3v3>;
				//vqmmc-supply = <&emmc_1v8>;
};

&sd_emmc_a {
	 status = "okay";
	 pinctrl-0 = <&sdio_m_pins>;
	 pinctrl-1 = <&sdio_m_clk_gate_pins>;
	 pinctrl-names = "default", "clk-gate";
	 bus-width = <4>;
	 cap-sd-highspeed;
	 sd-uhs-sdr104;
	 non-removable;
	 max-frequency = <200000000>;
	 disable-wp;
	 cap-sdio-irq;
	 keep-power-in-suspend;
	//broken-cd;
};

&mtd_nand {
	status = "disabled";
	#address-cells = <1>;
	#size-cells = <0>;

	pinctrl-names = "nand_norb_mod","nand_cs_only";
	pinctrl-0 = <&all_nand_pins>;
	pinctrl-1 = <&nand_cs_pins>;
	bl_mode = <1>;
	fip_copies = <4>;
	fip_size = <0x200000>;
	ship_bad_block = <1>;
	disa_irq_flag = <1>;
	nand@bootloader {
		reg = <0>;
		#address-cells = <1>;
		#size-cells = <1>;
		nand-ecc-maximize;
		partition@0 {
			label = "bootloader";
			reg = <0x0 0x00000000>;
		};
	};

	nand@normal {
		reg = <0>;
		#address-cells = <1>;
		#size-cells = <1>;
		nand-ecc-maximize;

		partition@0 {
			label = "tpl";
			reg = <0x0 0x00000000>;
		};
		partition@1 {
			label = "logo";
			reg = <0x0 0x00200000>;
		};
		partition@2 {
			label = "recovery";
			reg = <0x0 0x1000000>;
		};
		partition@3 {
			label = "boot";
			reg = <0x0 0x0F00000>;
		};
		partition@4 {
			label = "system";
			reg = <0x0 0x11800000>;
		};
		partition@5 {
			label = "data";
			reg = <0x0 0xffffffff>;
			size=<0x0 0x0>;
		};
	};
};

&aml_wifi{
	status = "okay";
	interrupt-gpios = <&gpio  GPIOX_7  GPIO_ACTIVE_HIGH>;
	power_on-gpios = <&gpio   GPIOX_6  GPIO_ACTIVE_HIGH>;
};

&aml_bt {
	status = "okay";
	reset-gpios = <&gpio    GPIOX_17 GPIO_ACTIVE_HIGH>;
	hostwake-gpios = <&gpio GPIOX_19 GPIO_ACTIVE_HIGH>;
};

&pcie_A {
	reset-gpio = <&gpio GPIOX_7 GPIO_ACTIVE_HIGH>;
	status = "disable";
};

&meson_cooldev {
	status = "okay";
};

&saradc {
	status = "okay";
};

&ir {
	status = "okay";
	pinctrl-0 = <&remote_pins>;
	pinctrl-names = "default";
};

&defendkey {
	status = "okay";
};

&lcd {
	status = "disabled";
};

&pinctrl_audio {
	tdm_b_clk_pins: tdm_b_clk_pins {
		mux {
			groups = "tdm_sclk1", "tdm_lrclk1";
			function = "tdm_clk_outb";
		};
	};
};

&pinctrl_aobus {
	dvb_s_ts0_pins: dvb_s_ts0_pins {
		tsin_a {
			groups = "tsin_a_sop_ao",
				"tsin_a_valid_ao",
				"tsin_a_clk_ao",
				"tsin_a_din0_ao";
			function = "tsin_a_ao";
		};
	};
};

&pinctrl_periphs {
	dvb_s_ts1_pins: dvb_s_ts1_pins {
		tsin_b {
			groups = "tsin_b_sop_z",
				"tsin_b_valid_z",
				"tsin_b_clk_z",
				"tsin_b_din0_z";
			function = "tsin_b";
		};
	};
};

&irblaster {
	status = "okay";
	pinctrl-names = "default";
	pinctrl-0 = <&irblaster_pins>;
};
